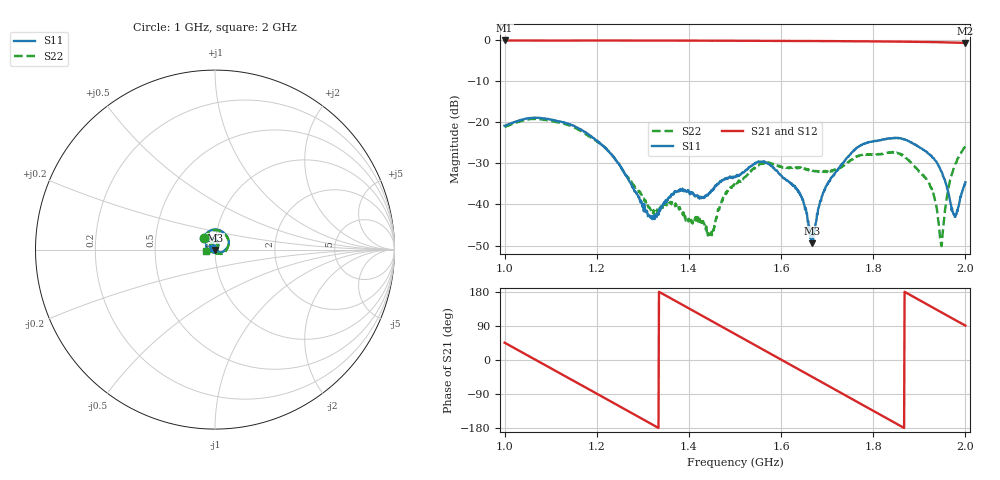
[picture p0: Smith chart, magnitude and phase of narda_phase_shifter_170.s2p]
#  HZ  S  DB  R  50.00
! Rohde & Schwarz Vector Network Analyzer
! Rohde-Schwarz,ZNB8-4Port,1311601044102961,2.82
! Created: UTC 3/4/2022, 4:08:11 PM
! freq[Hz]  db:S11  ang:S11  db:S21  ang:S21  db:S12  ang:S12  db:S22  ang:S22
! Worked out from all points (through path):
!   1001 points, 1 GHz to 2 GHz, reference 50 ohm
!   highest |S21| = -0.22 dB at 1 GHz (marker M1); lowest = -0.8 dB at 2 GHz (marker M2)
!   group delay of S21, straight-line fit = 1.88 ns
!   lowest |S11| = -49.4 dB at 1.668 GHz (marker M3), VSWR 1.01, Z = 50.3 - j0.229 ohm
!   |S11| at or under -10 dB: start of sweep to end of sweep
!   |S22| runs from -50.2 to -19.2 dB; largest |S21 - S12| = 0.0024
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1e9  -20.92 133.4  -0.22 45.7  -0.21 45.7  -21.26 134.0
1.081e9  -19.09 78.0  -0.25 -8.8  -0.25 -8.7  -19.38 77.5
1.167e9  -21.97 19.1  -0.24 -66.5  -0.24 -66.5  -22.30 16.3
1.242e9  -29.40 -30.1  -0.23 -117.2  -0.23 -117.2  -29.34 -43.8
1.311e9  -42.89 -7.9  -0.24 -163.8  -0.24 -163.8  -40.33 -149.4
1.334e9  -42.54 24.2  -0.25 -179.3  -0.24 -179.4  -41.25 148.6
1.373e9  -36.94 -10.5  -0.26 154.3  -0.26 154.3  -40.19 112.8
1.446e9  -36.96 -93.1  -0.28 105.0  -0.27 105.1  -47.60 -60.6
1.476e9  -34.02 -142.2  -0.29 84.8  -0.29 84.8  -38.11 -142.1
1.5e9  -33.40 -170.8  -0.29 68.6  -0.29 68.6  -34.98 -159.2
1.576e9  -30.48 117.9  -0.33 17.3  -0.32 17.3  -29.91 146.6
1.64e9  -37.11 63.3  -0.35 -25.9  -0.34 -25.9  -31.12 124.2
1.667e9  -48.59 -30.5  -0.36 -44.1  -0.36 -44.1  -31.86 127.7
1.668e9  -49.41 -42.3  -0.36 -44.8  -0.36 -44.8  -31.91 128.9
1.693e9  -36.94 -131.9  -0.37 -61.7  -0.37 -61.7  -31.91 134.8
1.729e9  -30.63 -162.6  -0.40 -86.1  -0.39 -86.0  -30.99 131.8
1.778e9  -25.37 157.1  -0.44 -119.2  -0.43 -119.2  -27.93 127.5
1.834e9  -24.00 118.5  -0.48 -157.1  -0.48 -157.0  -27.36 97.2
1.918e9  -27.47 68.4  -0.60 146.1  -0.59 146.1  -34.30 33.7
1.948e9  -31.96 47.5  -0.66 125.8  -0.65 125.8  -50.15 -57.3
1.976e9  -42.45 91.2  -0.74 106.8  -0.74 106.8  -30.89 -150.7
2e9  -34.65 150.5  -0.83 90.8  -0.82 90.8  -25.98 -168.9
